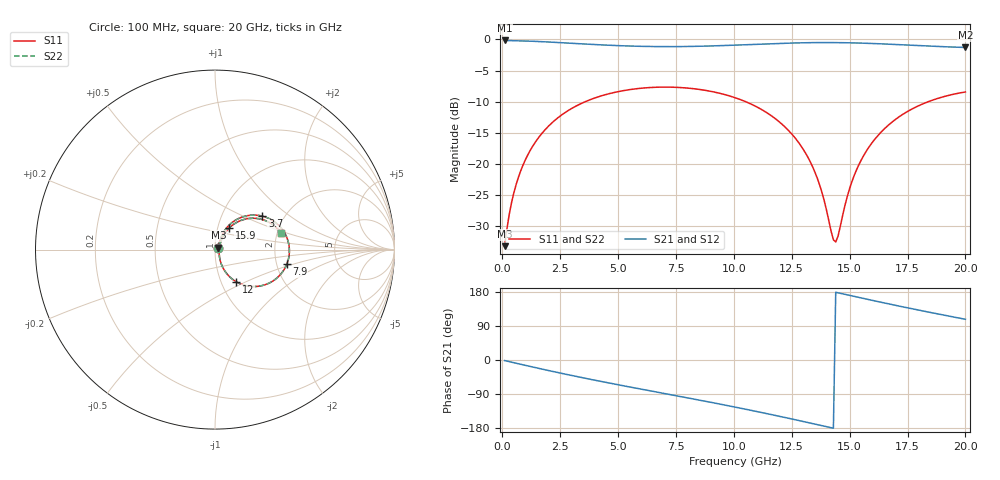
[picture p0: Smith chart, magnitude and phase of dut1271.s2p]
! Touchstone file exported from HFSS 2026.1.0
!  File:  C:/ffzhzh/LocalFiles/Ansys_Project_Files/temp_train_TSV_RDL_1271_1783329047_5512.aedt
!  Generated:  05:22:29 PM Jul  6, 2026
!  Design:  TSV_RDL
!  Project:  temp_train_TSV_RDL_1271_1783329047_5512
! Variables:
!  h_bsmrdl = 4.03um
!  h_ox = 20um
!  h_rdl = 5um
!  h_sub = 98.64um
!  h_tmrdl = 5.73um
!  h_tsv = 98.64um
!  h_via = 3um
!  l_bsmrdl = 407.5um
!  l_sub = 4097.99um
!  l_tmrdl = 593.8um
!  m_sub = 200um
!  pitch = 33.52um
!  r_tsv = 5.38um
!  s_tmrdl = 10um
!  w_bsmrdl = 14.63um
!  w_sub = 500um
!  w_tmrdl = 18.8um
!  x_tsv_center1 = 603.2um
!  x_tsv_center2 = 1025.33um
!  x_tsv_center3 = 1637.93um
!  x_tsv_center4 = 2060.06um
!  x_tsv_center5 = 2672.66um
!  x_tsv_center6 = 3094.79um
# GHz S MA R 50.000000
! Terminal data exported
! Port[1] = TM_RDL1_1_T1
! Port[2] = TM_RDL5_1_T1
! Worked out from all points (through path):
!   200 points, 100 MHz to 20 GHz, reference 50 ohm
!   highest |S21| = -0.16 dB at 100 MHz (marker M1); lowest = -1.3 dB at 20 GHz (marker M2)
!   group delay of S21, straight-line fit = 34.8 ps
!   lowest |S11| = -33.2 dB at 100 MHz (marker M3), VSWR 1.04, Z = 51.9 + j1.19 ohm
!   |S11| at or under -10 dB: start of sweep to 3.577 GHz; 10.52 GHz to 18.39 GHz (7.872 GHz wide, 54.5 % of centre)
!   |S22| runs from -33.2 to -7.6 dB; largest |S21 - S12| = 1.7e-14
!   S11 on the Smith chart (normalised r, x): 100 MHz: 1.04, +0.02; 3.7 GHz: 1.55, +0.65; 7.9 GHz: 2.28, -0.44; 12 GHz: 1.18, -0.44; 15.9 GHz: 1.13, +0.28; 20 GHz: 2.10, +0.45
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0.1  0.02192 31.4  0.9815 -1.5  0.9815 -1.5  0.02192 31.4
! Gamma 0 0 0 0
! Port Impedance 50 0 50 0
0.3  0.03944 55.1  0.9794 -4.4  0.9794 -4.4  0.03944 55.1
0.5  0.05882 61.8  0.9775 -7.2  0.9775 -7.2  0.05882 61.8
1.2  0.1281 62.6  0.9689 -16.9  0.9689 -16.9  0.1281 62.6
2.2  0.2188 52.7  0.9496 -30.5  0.9496 -30.5  0.2188 52.7
3.5  0.3117 37.5  0.9203 -47.2  0.9203 -47.2  0.3117 37.5
3.7  0.3233 35.2  0.9159 -49.7  0.9159 -49.7  0.3233 35.2
5.2  0.3875 18.2  0.8892 -67.7  0.8892 -67.7  0.3875 18.2
6.8  0.4142 0.7  0.8761 -86.1  0.8761 -86.1  0.4142 0.7
7.9  0.4086 -11.3  0.8774 -98.7  0.8774 -98.7  0.4086 -11.3
10.1  0.3385 -35.6  0.901 -124.8  0.901 -124.8  0.3385 -35.6
12  0.2152 -56.6  0.9298 -149.0  0.9298 -149.0  0.2152 -56.5
12.8  0.1486 -64.0  0.9388 -159.6  0.9388 -159.6  0.1486 -64.0
13.4  0.09523 -66.6  0.9429 -167.7  0.9429 -167.7  0.09523 -66.6
13.8  0.05961 -62.9  0.9441 -173.2  0.9441 -173.2  0.0596 -62.9
14.3  0.02466 -19.8  0.9437 -180.0  0.9437 -180.0  0.02459 -19.8
14.4  0.0237 1.5  0.9434 178.7  0.9434 178.7  0.02362 1.5
15.1  0.0723 57.7  0.9388 169.1  0.9388 169.1  0.07225 57.8
15.9  0.1423 56.8  0.9293 158.4  0.9293 158.4  0.1422 56.9
16.7  0.2072 49.7  0.9163 147.9  0.9163 147.9  0.2072 49.8
18.3  0.3115 32.6  0.887 127.7  0.887 127.7  0.3115 32.6
20  0.3788 14.1  0.8622 107.5  0.8622 107.5  0.3788 14.2
